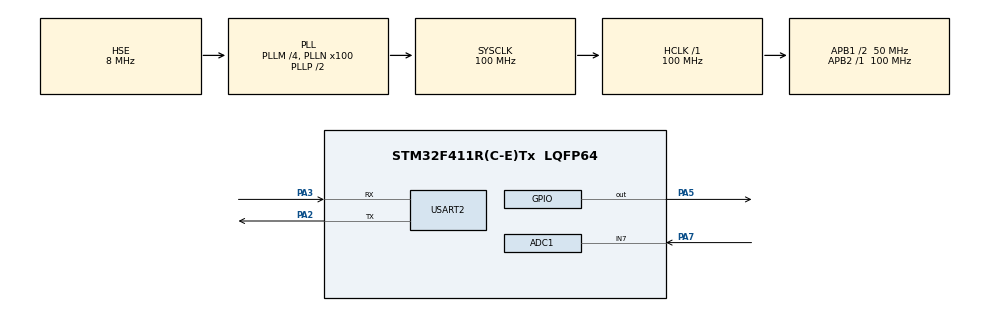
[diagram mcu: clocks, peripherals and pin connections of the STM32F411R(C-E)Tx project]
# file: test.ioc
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ADC1.Channel-0\#ChannelRegularConversion=ADC_CHANNEL_7
ADC1.ContinuousConvMode=ENABLE
ADC1.NbrOfConversionFlag=1
ADC1.Rank-0\#ChannelRegularConversion=1
ADC1.SamplingTime-0\#ChannelRegularConversion=ADC_SAMPLETIME_84CYCLES
ADC1.ScanConvMode=ENABLE
ADC1.master=1
Mcu.Family=STM32F4
Mcu.Name=STM32F411R(C-E)Tx
Mcu.Package=LQFP64
NVIC.PriorityGroup=NVIC_PRIORITYGROUP_4
PA13.Mode=Serial_Wire
PA13.Signal=SYS_JTMS-SWDIO
PA14.Mode=Serial_Wire
PA14.Signal=SYS_JTCK-SWCLK
PA2.Mode=Asynchronous
PA2.Signal=USART2_TX
PA3.Mode=Asynchronous
PA3.Signal=USART2_RX
PA5.Signal=GPIO_Output
PA7.Signal=ADCx_IN7
PH0\ -\ OSC_IN.Mode=HSE-External-Oscillator
PH0\ -\ OSC_IN.Signal=RCC_OSC_IN
PH1\ -\ OSC_OUT.Mode=HSE-External-Oscillator
PH1\ -\ OSC_OUT.Signal=RCC_OSC_OUT
ProjectManager.HeapSize=0x200
ProjectManager.StackSize=0x400
ProjectManager.TargetToolchain=STM32CubeIDE
RCC.48MHZClocksFreq_Value=50000000
RCC.AHBFreq_Value=100000000
RCC.APB1CLKDivider=RCC_HCLK_DIV2
RCC.APB1Freq_Value=50000000
RCC.APB1TimFreq_Value=100000000
RCC.APB2Freq_Value=100000000
RCC.APB2TimFreq_Value=100000000
RCC.CortexFreq_Value=100000000
RCC.HCLKFreq_Value=100000000
RCC.HSE_VALUE=8000000
RCC.HSI_VALUE=16000000
RCC.LSE_VALUE=32768
RCC.PLLM=4
RCC.PLLN=100
RCC.PLLSourceVirtual=RCC_PLLSOURCE_HSE
RCC.SYSCLKFreq_VALUE=100000000
RCC.SYSCLKSource=RCC_SYSCLKSOURCE_PLLCLK
RCC.VCOOutputFreq_Value=200000000
SH.ADCx_IN7.0=ADC1_IN7,IN7
USART2.VirtualMode=VM_ASYNC
board=custom

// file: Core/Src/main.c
/* USER CODE BEGIN Header */
/**
 ******************************************************************************
 * @file           : main.c
 * @brief          : Main program body
 ******************************************************************************
 * @attention
 *
 * Copyright (c) 2025 STMicroelectronics.
 * All rights reserved.
 *
 * This software is licensed under terms that can be found in the LICENSE file
 * in the root directory of this software component.
 * If no LICENSE file comes with this software, it is provided AS-IS.
 *
 ******************************************************************************
 */
/* USER CODE END Header */
#include "main.h"
#include "adc.h"
#include "usart.h"
#include "gpio.h"

/* USER CODE BEGIN Includes */
#include <stdio.h>  // sprintf() 사용을 위해 추가
/* USER CODE END Includes */

/* USER CODE BEGIN PV */

uint8_t rxData;
uint16_t adcValue;   // ADC 값 저장 변수
char uartBuffer[20]; // UART로 전송할 문자열 버퍼

/* USER CODE END PV */

void SystemClock_Config(void);
/* USER CODE BEGIN PFP */

//콜백함수안에 인터럽을 재활성화 해준 이유
//인터럽트가 발생하면 인터럽드 디스에이블 되기 때문에
//다시 인터럽트를 인에이블 시켜줌
void HAL_UART_RxCpltCallback(UART_HandleTypeDef *huart)
{

	 // USART2이면
	    if (huart->Instance == USART2)
	    {
	        if (huart != NULL)  // huart2 객체가 NULL인지 체크
	        {
	            HAL_UART_Receive_IT(&huart2, &rxData, sizeof(rxData));
	            HAL_UART_Transmit(&huart2, &rxData, sizeof(rxData), 0xFFFF);
	        }
	        else
	        {
	            // huart2가 NULL일 경우 예외 처리
	            printf("huart2 is NULL!\n");
	        }
	    }
}

/* USER CODE END PFP */

int main(void)
{

	/* MCU Configuration--------------------------------------------------------*/

	/* Reset of all peripherals, Initializes the Flash interface and the Systick. */
	HAL_Init();

	/* Configure the system clock */
	SystemClock_Config();

	/* Initialize all configured peripherals */
	MX_GPIO_Init();
	MX_USART2_UART_Init();
	MX_ADC1_Init();
	/* USER CODE BEGIN 2 */

	//받는 인터럽트 활성화
	HAL_UART_Receive_IT(&huart2, &rxData, sizeof(rxData));

	/* USER CODE END 2 */

	/* Infinite loop */
	/* USER CODE BEGIN WHILE */
	while (1)
	{
		HAL_GPIO_TogglePin(GPIOA, GPIO_PIN_5);

		// ADC 값 읽기
		HAL_ADC_Start(&hadc1);
		if (HAL_ADC_PollForConversion(&hadc1, 10) == HAL_OK)
		{
			adcValue = HAL_ADC_GetValue(&hadc1);  // ADC 값 저장
			sprintf(uartBuffer, "ADC: %d\r\n", adcValue);
			HAL_UART_Transmit(&huart2, (uint8_t*)uartBuffer, strlen(uartBuffer), 100);
		}
		HAL_ADC_Stop(&hadc1);

		HAL_Delay(100);

		/* USER CODE END WHILE */

	}
}

void SystemClock_Config(void)
{
	RCC_OscInitTypeDef RCC_OscInitStruct = {0};
	RCC_ClkInitTypeDef RCC_ClkInitStruct = {0};

	/** Configure the main internal regulator output voltage
	 */
	__HAL_RCC_PWR_CLK_ENABLE();
	__HAL_PWR_VOLTAGESCALING_CONFIG(PWR_REGULATOR_VOLTAGE_SCALE1);

	/** Initializes the RCC Oscillators according to the specified parameters
	 * in the RCC_OscInitTypeDef structure.
	 */
	RCC_OscInitStruct.OscillatorType = RCC_OSCILLATORTYPE_HSE;
	RCC_OscInitStruct.HSEState = RCC_HSE_ON;
	RCC_OscInitStruct.PLL.PLLState = RCC_PLL_ON;
	RCC_OscInitStruct.PLL.PLLSource = RCC_PLLSOURCE_HSE;
	RCC_OscInitStruct.PLL.PLLM = 4;
	RCC_OscInitStruct.PLL.PLLN = 100;
	RCC_OscInitStruct.PLL.PLLP = RCC_PLLP_DIV2;
	RCC_OscInitStruct.PLL.PLLQ = 4;
	if (HAL_RCC_OscConfig(&RCC_OscInitStruct) != HAL_OK)
	{
		Error_Handler();
	}

	/** Initializes the CPU, AHB and APB buses clocks
	 */
	RCC_ClkInitStruct.ClockType = RCC_CLOCKTYPE_HCLK|RCC_CLOCKTYPE_SYSCLK
			|RCC_CLOCKTYPE_PCLK1|RCC_CLOCKTYPE_PCLK2;
	RCC_ClkInitStruct.SYSCLKSource = RCC_SYSCLKSOURCE_PLLCLK;
	RCC_ClkInitStruct.AHBCLKDivider = RCC_SYSCLK_DIV1;
	RCC_ClkInitStruct.APB1CLKDivider = RCC_HCLK_DIV2;
	RCC_ClkInitStruct.APB2CLKDivider = RCC_HCLK_DIV1;

	if (HAL_RCC_ClockConfig(&RCC_ClkInitStruct, FLASH_LATENCY_3) != HAL_OK)
	{
		Error_Handler();
	}
}

void Error_Handler(void)
{
	__disable_irq();
	while (1)
	{
	}
}
